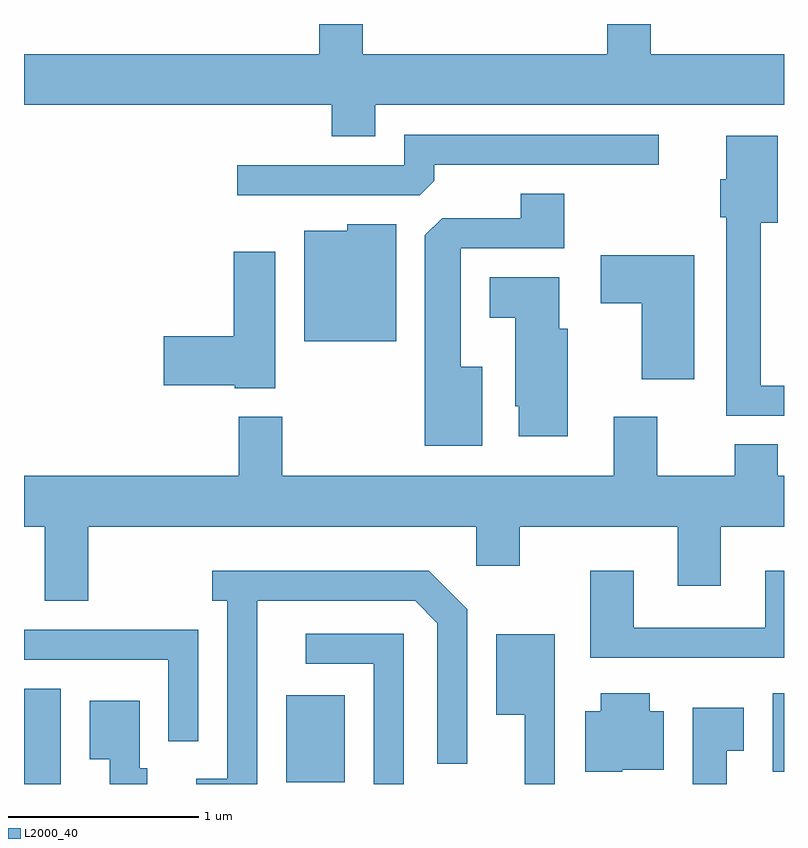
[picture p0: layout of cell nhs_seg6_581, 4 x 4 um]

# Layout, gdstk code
import gdstk
lib = gdstk.Library(unit=1e-6, precision=1e-09)
def R(c, l, rs):  # rectangles x0, y0, x1, y1
    for r in rs: c.add(gdstk.rectangle(r[:2], r[2:], *l))
def P(c, l, *ps):  # polygons
    for p in ps: c.add(gdstk.Polygon(p, *l))
L2000_40 = (2000, 40)

nhs_seg6_581 = lib.new_cell('nhs_seg6_581')
R(nhs_seg6_581, L2000_40, [(201.611,1624.162,201.804,1624.664), (202.991,1624.171,203.299,1624.629), (205.551,1624.226,205.611,1624.639), (205.061,1628.161,205.611,1628.162)])
P(nhs_seg6_581, L2000_40, [(203.459,1627.736),(205.611,1627.736),(205.611,1628.004),(204.909,1628.004),(204.909,1628.162),(204.681,1628.162),(204.681,1628.004),(203.394,1628.004),(203.394,1628.162),(203.166,1628.162),(203.166,1628.004),(201.611,1628.004),(201.611,1627.736),(203.231,1627.736),(203.231,1627.571),(203.459,1627.571)],
  [(202.938,1628.162),(201.731,1628.162),(201.731,1628.161),(202.937,1628.161)],
  [(203.769,1627.337),(203.769,1627.421),(204.953,1627.421),(204.953,1627.579),(203.611,1627.579),(203.611,1627.419),(202.733,1627.419),(202.733,1627.261),(203.694,1627.261)],
  [(205.611,1626.259),(205.489,1626.259),(205.489,1627.116),(205.579,1627.116),(205.579,1627.574),(205.306,1627.574),(205.306,1627.344),(205.276,1627.344),(205.276,1627.146),(205.306,1627.146),(205.306,1626.101),(205.611,1626.101)],
  [(204.024,1626.359),(203.909,1626.359),(203.909,1626.981),(204.454,1626.981),(204.454,1627.269),(204.226,1627.269),(204.226,1627.139),(203.812,1627.139),(203.721,1627.049),(203.721,1625.941),(204.024,1625.941)],
  [(203.569,1627.109),(203.311,1627.109),(203.311,1627.074),(203.086,1627.074),(203.086,1626.491),(203.569,1626.491)],
  [(202.934,1626.964),(202.716,1626.964),(202.716,1626.519),(202.346,1626.519),(202.346,1626.261),(202.72,1626.261),(202.72,1626.246),(202.934,1626.246)],
  [(205.139,1626.944),(204.646,1626.944),(204.646,1626.691),(204.861,1626.691),(204.861,1626.291),(205.139,1626.291)],
  [(204.474,1626.559),(204.429,1626.559),(204.429,1626.829),(204.061,1626.829),(204.061,1626.616),(204.196,1626.616),(204.196,1626.151),(204.216,1626.151),(204.216,1625.991),(204.474,1625.991)],
  [(201.949,1625.516),(203.991,1625.516),(203.991,1625.311),(204.219,1625.311),(204.219,1625.516),(205.051,1625.516),(205.051,1625.206),(205.279,1625.206),(205.279,1625.516),(205.611,1625.516),(205.611,1625.784),(205.579,1625.784),(205.579,1625.949),(205.351,1625.949),(205.351,1625.784),(204.944,1625.784),(204.944,1626.094),(204.716,1626.094),(204.716,1625.784),(202.969,1625.784),(202.969,1626.094),(202.741,1626.094),(202.741,1625.784),(201.611,1625.784),(201.611,1625.516),(201.721,1625.516),(201.721,1625.126),(201.949,1625.126)],
  [(205.611,1625.284),(205.511,1625.284),(205.511,1624.984),(204.819,1624.984),(204.819,1625.284),(204.591,1625.284),(204.591,1624.826),(205.611,1624.826)],
  [(202.839,1625.126),(203.669,1625.126),(203.786,1625.009),(203.786,1624.268),(203.944,1624.268),(203.944,1625.082),(203.742,1625.284),(202.603,1625.284),(202.603,1625.126),(202.681,1625.126),(202.681,1624.189),(202.518,1624.189),(202.518,1624.162),(202.839,1624.162)],
  [(202.529,1624.974),(201.611,1624.974),(201.611,1624.816),(202.371,1624.816),(202.371,1624.388),(202.529,1624.388)],
  [(203.609,1624.954),(203.093,1624.954),(203.093,1624.796),(203.451,1624.796),(203.451,1624.162),(203.609,1624.162)],
  [(204.404,1624.949),(204.096,1624.949),(204.096,1624.526),(204.246,1624.526),(204.246,1624.162),(204.404,1624.162)],
  [(204.76,1624.236),(204.979,1624.236),(204.979,1624.544),(204.904,1624.544),(204.904,1624.639),(204.646,1624.639),(204.646,1624.544),(204.566,1624.544),(204.566,1624.226),(204.76,1624.226)],
  [(202.259,1624.244),(202.219,1624.244),(202.219,1624.599),(201.956,1624.599),(201.956,1624.291),(202.061,1624.291),(202.061,1624.162),(202.259,1624.162)],
  [(205.309,1624.336),(205.399,1624.336),(205.399,1624.564),(205.131,1624.564),(205.131,1624.162),(205.309,1624.162)])

lib.write_gds('nhs_seg6_581.gds')
